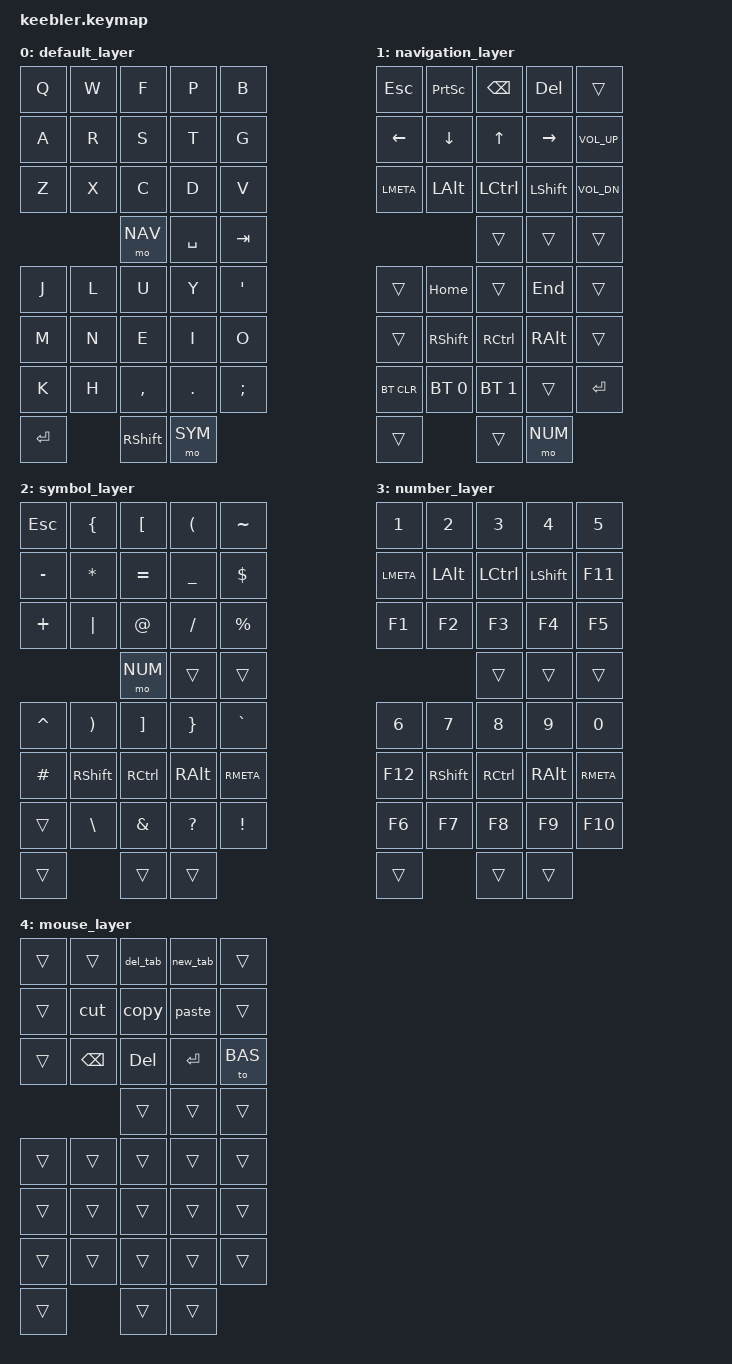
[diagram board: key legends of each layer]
#include <behaviors.dtsi>
#include <dt-bindings/zmk/keys.h>
#include <dt-bindings/zmk/bt.h>

#define BAS 0  // base
#define NAV 1  // navigation
#define SYM 2  // symbols
#define NUM 3  // numbers
#define MOU 4  // mouse

/ {
  macros {
    cut: cut {
      compatible = "zmk,behavior-macro";
      #binding-cells = <0>;
      bindings
        = <&macro_press &kp LCTRL>
        , <&macro_tap &kp X>
        , <&macro_release &kp LCTRL>
        ;
    };
    copy: copy {
      compatible = "zmk,behavior-macro";
      #binding-cells = <0>;
      bindings
        = <&macro_press &kp LCTRL>
        , <&macro_tap &kp C>
        , <&macro_release &kp LCTRL>
        ;
    };
    paste: paste {
      compatible = "zmk,behavior-macro";
      #binding-cells = <0>;
      bindings
        = <&macro_press &kp LCTRL>
        , <&macro_tap &kp V>
        , <&macro_release &kp LCTRL>
        ;
    };
    new_tab: new_tab {
      compatible = "zmk,behavior-macro";
      #binding-cells = <0>;
      bindings
        = <&macro_press &kp LCTRL>
        , <&macro_tap &kp T>
        , <&macro_release &kp LCTRL>
        ;
    };
    del_tab: del_tab {
      compatible = "zmk,behavior-macro";
      #binding-cells = <0>;
      bindings
        = <&macro_press &kp LCTRL>
        , <&macro_tap &kp W>
        , <&macro_release &kp LCTRL>
        ;
    };
  };

  keymap {
    compatible = "zmk,keymap";

    default_layer {
      bindings = <
&kp Q  &kp W  &kp F    &kp P      &kp B
&kp A  &kp R  &kp S    &kp T      &kp G
&kp Z  &kp X  &kp C    &kp D      &kp V
              &mo NAV  &kp SPACE  &kp TAB

&kp J      &kp L       &kp U      &kp Y    &kp SQT
&kp M      &kp N       &kp E      &kp I    &kp O
&kp K      &kp H       &kp COMMA  &kp DOT  &kp SEMI
&kp ENTER  &kp RSHIFT  &mo SYM
      >;
    };

    navigation_layer {
      bindings = <
&kp ESC    &kp PSCRN  &kp BSPC   &kp DEL    &trans
&kp LEFT   &kp DOWN   &kp UP     &kp RIGHT  &kp K_VOL_UP
&kp LMETA  &kp LALT   &kp LCTRL  &kp LSHFT  &kp K_VOL_DN
                      &trans     &trans     &trans

&trans      &kp HOME      &trans        &kp END   &trans
&trans      &kp RSHFT     &kp RCTRL     &kp RALT  &trans
&bt BT_CLR  &bt BT_SEL 0  &bt BT_SEL 1  &trans    &kp ENTER
&trans      &trans        &mo NUM
      >;
    };

    symbol_layer {
      bindings = <
&kp ESC    &kp LBRC  &kp LBKT   &kp LPAR   &kp TILDE
&kp MINUS  &kp STAR  &kp EQUAL  &kp UNDER  &kp DLLR
&kp PLUS   &kp PIPE  &kp AT     &kp FSLH   &kp PRCNT
                     &mo NUM    &trans     &trans

&kp CARET  &kp RPAR   &kp RBKT   &kp RBRC   &kp GRAVE
&kp HASH   &kp RSHFT  &kp RCTRL  &kp RALT   &kp RMETA
&trans     &kp BSLH   &kp AMPS   &kp QMARK  &kp EXCL
&trans     &trans     &trans
      >;
    };

    number_layer {
      bindings = <
&kp N1     &kp N2    &kp N3     &kp N4     &kp N5
&kp LMETA  &kp LALT  &kp LCTRL  &kp LSHFT  &kp F11
&kp F1     &kp F2    &kp F3     &kp F4     &kp F5
                     &trans     &trans     &trans

&kp N6   &kp N7     &kp N8     &kp N9    &kp N0
&kp F12  &kp RSHFT  &kp RCTRL  &kp RALT  &kp RMETA
&kp F6   &kp F7     &kp F8     &kp F9    &kp F10
&trans   &trans     &trans
      >;
    };

    mouse_layer {
      bindings = <
&trans  &trans    &del_tab  &new_tab      &trans
&trans  &cut      &copy     &paste        &trans
&trans  &kp BSPC  &kp DEL   &kp ENTER     &to BAS
                            &trans &trans &trans

&trans  &trans  &trans  &trans  &trans
&trans  &trans  &trans  &trans  &trans
&trans  &trans  &trans  &trans  &trans
&trans  &trans  &trans
      >;
    };
  };
};
